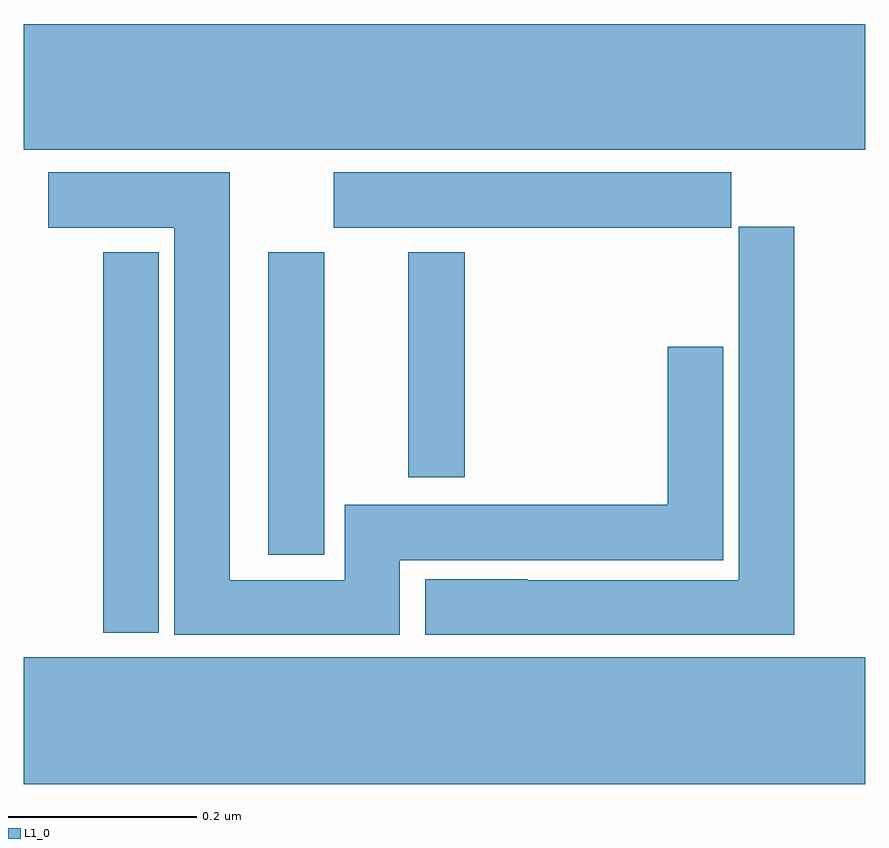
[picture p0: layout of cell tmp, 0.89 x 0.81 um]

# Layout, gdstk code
import gdstk
lib = gdstk.Library(unit=1e-6, precision=1e-09)
def R(c, l, rs):  # rectangles x0, y0, x1, y1
    for r in rs: c.add(gdstk.rectangle(r[:2], r[2:], *l))
def P(c, l, *ps):  # polygons
    for p in ps: c.add(gdstk.Polygon(p, *l))
L1_0 = (1, 0)

tmp = lib.new_cell('tmp')
R(tmp, L1_0, [(0.99,0.894,1.881,1.028), (1.074,1.054,1.133,1.457), (1.249,1.137,1.308,1.457), (1.397,1.219,1.457,1.457), (1.318,1.483,1.739,1.542), (0.99,1.566,1.881,1.699)])
P(tmp, L1_0, [(1.747,1.484),(1.747,1.111),(1.746,1.11),(1.524,1.11),(1.523,1.111),(1.415,1.111),(1.415,1.052),(1.806,1.052),(1.806,1.484)],
  [(1.016,1.542),(1.016,1.483),(1.148,1.483),(1.149,1.482),(1.149,1.052),(1.388,1.052),(1.388,1.13),(1.389,1.131),(1.731,1.131),(1.731,1.357),(1.672,1.357),(1.672,1.191),(1.671,1.19),(1.33,1.19),(1.33,1.111),(1.329,1.11),(1.209,1.11),(1.208,1.111),(1.208,1.542)])

lib.write_gds('tmp.gds')
